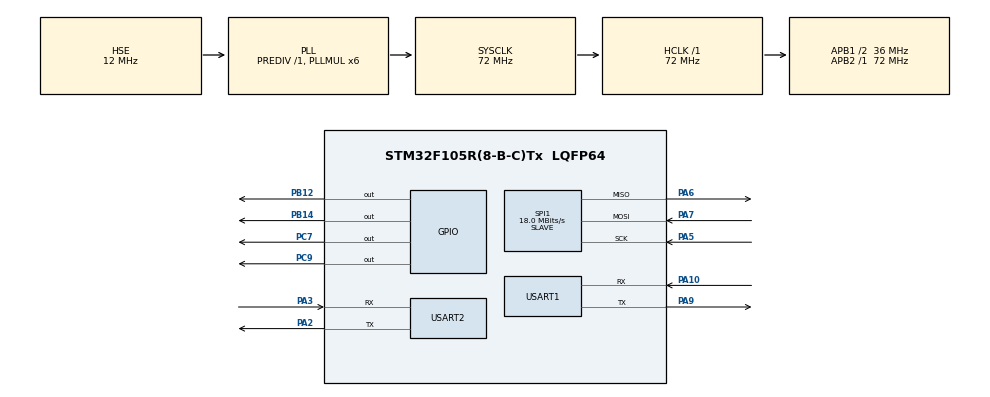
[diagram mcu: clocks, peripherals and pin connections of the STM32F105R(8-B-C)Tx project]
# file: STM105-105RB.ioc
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Mcu.Family=STM32F1
RCC.PLLSourceVirtual=RCC_PLLSOURCE_HSE
PA6.Mode=Full_Duplex_Slave
PA7.Mode=Full_Duplex_Slave
PD1-OSC_OUT.Mode=HSE-External-Oscillator
PA10.Mode=Asynchronous
SPI1.VirtualType=VM_SLAVE
PD0-OSC_IN.Signal=RCC_OSC_IN
RCC.APB1CLKDivider=RCC_HCLK_DIV2
VP_SYS_VS_ND.Mode=No_Debug
NVIC.USART2_IRQn=true\:0\:0\:false\:true\:true\:3\:true\:true
RCC.SYSCLKSource=RCC_SYSCLKSOURCE_PLLCLK
ProjectManager.StackSize=0x400
PD1-OSC_OUT.Signal=RCC_OSC_OUT
PA3.Mode=Asynchronous
PA9.Mode=Asynchronous
ProjectManager.TargetToolchain=STM32CubeIDE
PB14.GPIO_Speed=GPIO_SPEED_FREQ_HIGH
SPI1.Direction=SPI_DIRECTION_2LINES
RCC.HCLKFreq_Value=72000000
RCC.APB2TimFreq_Value=72000000
PA9.Signal=USART1_TX
PC7.Signal=GPIO_Output
SPI1.CalculateBaudRate=18.0 MBits/s
RCC.USBFreq_Value=48000000
RCC.AHBFreq_Value=72000000
PB12.GPIO_Speed=GPIO_SPEED_FREQ_HIGH
PD0-OSC_IN.Mode=HSE-External-Oscillator
PB14.Signal=GPIO_Output
PA5.Signal=SPI1_SCK
RCC.HSE_VALUE=12000000
board=custom
RCC.PLLMUL=RCC_PLL_MUL6
RCC.APB2Freq_Value=72000000
SPI1.Mode=SPI_MODE_SLAVE
Mcu.Name=STM32F105R(8-B-C)Tx
PA2.Signal=USART2_TX
RCC.FLatency-AdvancedSettings=FLASH_LATENCY_2
RCC.SYSCLKFreq_VALUE=72000000
Mcu.Package=LQFP64
PA6.Signal=SPI1_MISO
USART2.VirtualMode=VM_ASYNC
USART1.VirtualMode=VM_ASYNC
PA10.Signal=USART1_RX
ProjectManager.HeapSize=0x200
NVIC.PriorityGroup=NVIC_PRIORITYGROUP_4
RCC.APB1TimFreq_Value=72000000
PA2.Mode=Asynchronous
PC9.Signal=GPIO_Output
NVIC.USART1_IRQn=true\:0\:0\:false\:true\:true\:2\:true\:true
RCC.APB1Freq_Value=36000000
SPI1.BaudRatePrescaler=SPI_BAUDRATEPRESCALER_4
PB12.Signal=GPIO_Output
NVIC.RCC_IRQn=true\:0\:0\:false\:true\:true\:1\:true\:false
PA3.Signal=USART2_RX
PA5.Mode=Full_Duplex_Slave
PA7.Signal=SPI1_MOSI

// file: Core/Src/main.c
/* USER CODE BEGIN Header */
/**
  ******************************************************************************
  * @file           : main.c
  * @brief          : Main program body
  ******************************************************************************
  * @attention
  *
  * <h2><center>&copy; Copyright (c) 2021 STMicroelectronics.
  * All rights reserved.</center></h2>
  *
  * This software component is licensed by ST under BSD 3-Clause license,
  * the "License"; You may not use this file except in compliance with the
  * License. You may obtain a copy of the License at:
  *                        opensource.org/licenses/BSD-3-Clause
  *
  ******************************************************************************
  */
/* USER CODE END Header */
#include "main.h"

/* USER CODE BEGIN Includes */

/*############################################################################*/
/*gto include*/
#include "stdio.h"
#include "string.h"
#include "dwt_stm32_delay.h"	//gto

/*############################################################################*/

/* USER CODE END Includes */

SPI_HandleTypeDef hspi1;

UART_HandleTypeDef huart1;
UART_HandleTypeDef huart2;

void SystemClock_Config(void);
static void MX_GPIO_Init(void);
static void MX_USART1_UART_Init(void);
static void MX_SPI1_Init(void);
static void MX_USART2_UART_Init(void);
static void MX_NVIC_Init(void);

/* USER CODE BEGIN 0 */

/*############################################################################*/
/*gto define*/
//set 4Mbps
#define 	USART_CR1_OVER8_Pos           		(15U)
#define 	USART_CR1_OVER8_Msk           		(0x1UL << USART_CR1_OVER8_Pos)     /*!< 0x00008000 */
#define 	USART_CR1_OVER8               		USART_CR1_OVER8_Msk                /*!<USART Oversampling by 8 enable */
#define		UART_OVERSAMPLING_8                 ((uint32_t)USART_CR1_OVER8)

#define 	STM_TX_EN			GPIO_PIN_12
#define 	SYNC_EN				GPIO_PIN_14

/*############################################################################*/

/*############################################################################*/
/*gto variables*/
char * strcpy_slice(char *buf, char *s, int start, int size);

uint8_t 	data[1] = "S";				//uart1 test send data
uint8_t 	to407[11] = "(123456789)";		//uart1 test send data
uint8_t 	spi_data[] = "1";			//spi1 test send data
uint8_t 	uart1_4M = 0x11;			//uart1 4Mbps test send data
uint8_t 	rx_data;

uint8_t test_data[] = { 0 , 0 };
uint8_t test_data1[] = { 5 , 0 };

// slsve ID
uint8_t		s_ID[2];	// Save Slave ID
//uint8_t		compare_ID[2] = "00";	// Save Slave ID

/*mslee state machine variables*/
#define   	START_CODE	 		'<'
#define   	END_CODE		 	'>'
#define   	START				1
#define   	PAYLOAD 			2
#define   	END    				3
#define   	LENGTH   			16
uint8_t   	rxd[40];
uint8_t   	status = START;
uint8_t   	rx_cnt;
uint8_t		rxdata;
uint8_t		data_receive_flag = 0;

uint8_t		uart1_key_Flag = 0;
uint8_t		uart2_key_Flag = 0;

/*############################################################################*/

/*############################################################################*/
/*uart interrupt test*/ //gto

void HAL_UART_RxCpltCallback(UART_HandleTypeDef *huart) {
	if (huart->Instance == USART1) {
	        // When one data is received, an interrupt is generated.
			//HAL_GPIO_WritePin(GPIOB, SYNC_EN, 0); 							// GPIO PB14 OUTPUT LOW -> SYNC_EN

			HAL_UART_Receive_IT(&huart1, &rx_data, 1);

	        // Send the received data.
			HAL_UART_Transmit(&huart1, &rx_data, 1, 10);

			uart1_key_Flag = 1;

			/*
			HAL_GPIO_WritePin(GPIOB, STM_TX_EN, 1); 					// GPIO PB14 OUTPUT HIGH -> SYNC_EN
			HAL_UART_Transmit(&huart1, &rx_data, 1, 10);
			DWT_Delay_us(20);
			HAL_GPIO_WritePin(GPIOB, STM_TX_EN, 0); 					// GPIO PB14 OUTPUT LOW -> SYNC_EN
			HAL_GPIO_WritePin(GPIOC, GPIO_PIN_9, 0); // LED RED OFF
			*/

	}

	if (huart->Instance == USART2) {
			//debugPrintln(&huart2, "uart1 interrupt! ");
			// When one data is received, an interrupt is generated.
			HAL_UART_Receive_IT(&huart2, &rxdata, 1);

			// Send the received data.
			//HAL_UART_Transmit(&huart2, &rxdata, 1, 10);

			switch(status){

				case START:
					if( rxdata == START_CODE ) {
						rxd[0] = START_CODE ;
						rx_cnt = 1 ;
						status = PAYLOAD ;
						uart2_key_Flag = 0 ;
					}
					break ;

				case PAYLOAD :
					if( rxdata == START_CODE ) {
						rxd[0] = START_CODE ;
						rx_cnt = 1 ;
						status = PAYLOAD ;
					}
					else if( rxdata == END_CODE ) {
						if( rx_cnt == (LENGTH-1) )  {
							rxd[rx_cnt++] = rxdata ;
							uart2_key_Flag = 1 ;
						}
						status = START ;
					}
					else{
						if( rx_cnt < (LENGTH+2) )  rxd[rx_cnt++] = rxdata ;
						else {
							status = START ;
							rx_cnt = 0 ;
							uart2_key_Flag = 0 ;
						}
					}
					break ;
			}

	}
}

/*############################################################################*/

/*############################################################################*/
/*Send information (strings) to the console (PC) */

/*printf for uart1*/	//gto
int _write(int file, char *ptr, int len)
{
	HAL_UART_Transmit(&huart1, (uint8_t *) ptr, len, 500);
	return len;
}

/*Function to write directly to UART*/	//gto
void debugPrint(UART_HandleTypeDef *huart1, char _out[]){
 HAL_UART_Transmit(huart1, (uint8_t *) _out, strlen(_out), 10);
}

/*Function to write to UART and new line termination*/ //gto
void debugPrintln(UART_HandleTypeDef *huart, char _out[]){
 HAL_UART_Transmit(huart, (uint8_t *) _out, strlen(_out), 10);
 char newline[2] = "\r\n";
 HAL_UART_Transmit(huart, (uint8_t *) newline, 2, 10);
}

/*############################################################################*/

/* USER CODE END 0 */

int main(void)
{

  /* MCU Configuration--------------------------------------------------------*/

  /* Reset of all peripherals, Initializes the Flash interface and the Systick. */
  HAL_Init();

  /* Configure the system clock */
  SystemClock_Config();

  /* Initialize all configured peripherals */
  MX_GPIO_Init();
  MX_USART1_UART_Init();
  MX_SPI1_Init();
  MX_USART2_UART_Init();

  /* Initialize interrupts */
  MX_NVIC_Init();
  /* USER CODE BEGIN 2 */
  HAL_GPIO_WritePin(GPIOB, SYNC_EN, 1); 							// GPIO PB14 OUTPUT HIGH -> SYNC_EN
  HAL_GPIO_WritePin(GPIOB, STM_TX_EN, 0); 							// GPIO PB14 OUTPUT LOWH -> SYNC_EN

  printf("\r\n ### START STM32F105 Slave Board ### \r\n");

  /*receive Interrupt*/
  HAL_UART_Receive_IT(&huart1, (uint8_t *) &rx_data, 1);
  HAL_UART_Receive_IT(&huart2, (uint8_t *) &rxdata, 1); 			// interrupt uart 2

  //HAL_GPIO_WritePin(GPIOC, GPIO_PIN_7, 1); // GPIO OUTPUT HIGH
  //HAL_GPIO_WritePin(GPIOC, GPIO_PIN_9, 1); // GPIO OUTPUT HIGH
  /* USER CODE END 2 */

  /* Infinite loop */
  /* USER CODE BEGIN WHILE */

  while (1)
  {
	//HAL_UART_Transmit(&huart1, (uint8_t *)&uart1_4M, 2, 10);
	//DWT_Delay_us(1000000);

	if(uart2_key_Flag)
	{
		  uart2_key_Flag = 0;
		  HAL_GPIO_WritePin(GPIOC, GPIO_PIN_7, 1);							// LED RED ON

		  for (int i = 0; i < LENGTH; i++) {
			  HAL_UART_Transmit(&huart2, (uint8_t *) &rxd[i], 1, 10);
		  }

		  /*
		  strcpy_slice(s_ID, rxd, 5, 2);	// slice from message "[RID=?? SLAVE ANCHOR DEVICE]" 5, 2byte

		  if (s_ID == "00"){

		  }*/

		  HAL_GPIO_WritePin(GPIOB, SYNC_EN, 0); 							// GPIO PB14 OUTPUT LOW -> SYNC_EN

		  /*Configure GPIO pins : PA2 PA3 */	//gto
		  //change uart2 port to gpio

		  GPIO_InitTypeDef GPIO_InitStruct = {0};
		  GPIO_InitStruct.Pin = GPIO_PIN_2|GPIO_PIN_3;
		  GPIO_InitStruct.Mode = GPIO_MODE_INPUT;
		  GPIO_InitStruct.Pull = GPIO_NOPULL;
		  HAL_GPIO_Init(GPIOA, &GPIO_InitStruct);
	}

	if(uart1_key_Flag){
		  uart1_key_Flag = 0;

		  HAL_GPIO_WritePin(GPIOB, STM_TX_EN, 1);
		  //DWT_Delay_us(20);
		  HAL_UART_Transmit(&huart1, (uint8_t *) &to407, 11, 100);
		  //DWT_Delay_us(20);
		  HAL_GPIO_WritePin(GPIOB, STM_TX_EN, 0);

		  /*
		  if(rx_data == 0x22){
			  HAL_GPIO_WritePin(GPIOC, GPIO_PIN_7, 1);							// LED ON
			  HAL_Delay(1000);
			  HAL_GPIO_WritePin(GPIOC, GPIO_PIN_7, 0);							// LED OFF
		  }

		  if(rx_data == 0x33){
			  HAL_GPIO_WritePin(GPIOC, GPIO_PIN_7, 1);							// LED ON
			  HAL_Delay(1000);
			  HAL_GPIO_WritePin(GPIOC, GPIO_PIN_7, 0);							// LED OFF
		  }*/

		  /*
		  HAL_GPIO_WritePin(GPIOC, GPIO_PIN_9, 0); 							// GPIO RED OFF

		  HAL_GPIO_WritePin(GPIOB, STM_TX_EN, 1);
		  //DWT_Delay_us(20);
		  HAL_UART_Transmit(&huart1, (uint8_t *) &to407, 6, 10);
		  //DWT_Delay_us(20);
		  HAL_GPIO_WritePin(GPIOB, STM_TX_EN, 0);*/
	}

    /* USER CODE END WHILE */

  }
}

void SystemClock_Config(void)
{
  RCC_OscInitTypeDef RCC_OscInitStruct = {0};
  RCC_ClkInitTypeDef RCC_ClkInitStruct = {0};

  /** Initializes the RCC Oscillators according to the specified parameters
  * in the RCC_OscInitTypeDef structure.
  */
  RCC_OscInitStruct.OscillatorType = RCC_OSCILLATORTYPE_HSE;
  RCC_OscInitStruct.HSEState = RCC_HSE_ON;
  RCC_OscInitStruct.HSEPredivValue = RCC_HSE_PREDIV_DIV1;
  RCC_OscInitStruct.HSIState = RCC_HSI_ON;
  RCC_OscInitStruct.Prediv1Source = RCC_PREDIV1_SOURCE_HSE;
  RCC_OscInitStruct.PLL.PLLState = RCC_PLL_ON;
  RCC_OscInitStruct.PLL.PLLSource = RCC_PLLSOURCE_HSE;
  RCC_OscInitStruct.PLL.PLLMUL = RCC_PLL_MUL6;
  RCC_OscInitStruct.PLL2.PLL2State = RCC_PLL_NONE;
  if (HAL_RCC_OscConfig(&RCC_OscInitStruct) != HAL_OK)
  {
    Error_Handler();
  }
  /** Initializes the CPU, AHB and APB buses clocks
  */
  RCC_ClkInitStruct.ClockType = RCC_CLOCKTYPE_HCLK|RCC_CLOCKTYPE_SYSCLK
                              |RCC_CLOCKTYPE_PCLK1|RCC_CLOCKTYPE_PCLK2;
  RCC_ClkInitStruct.SYSCLKSource = RCC_SYSCLKSOURCE_PLLCLK;
  RCC_ClkInitStruct.AHBCLKDivider = RCC_SYSCLK_DIV1;
  RCC_ClkInitStruct.APB1CLKDivider = RCC_HCLK_DIV2;
  RCC_ClkInitStruct.APB2CLKDivider = RCC_HCLK_DIV1;

  if (HAL_RCC_ClockConfig(&RCC_ClkInitStruct, FLASH_LATENCY_2) != HAL_OK)
  {
    Error_Handler();
  }
  /** Configure the Systick interrupt time
  */
  __HAL_RCC_PLLI2S_ENABLE();
}

/**
  * @brief NVIC Configuration.
  * @retval None
  */
static void MX_NVIC_Init(void)
{
  /* RCC_IRQn interrupt configuration */
  HAL_NVIC_SetPriority(RCC_IRQn, 0, 0);
  HAL_NVIC_EnableIRQ(RCC_IRQn);
  /* USART1_IRQn interrupt configuration */
  HAL_NVIC_SetPriority(USART1_IRQn, 0, 0);
  HAL_NVIC_EnableIRQ(USART1_IRQn);
  /* USART2_IRQn interrupt configuration */
  HAL_NVIC_SetPriority(USART2_IRQn, 0, 0);
  HAL_NVIC_EnableIRQ(USART2_IRQn);
}

static void MX_SPI1_Init(void)
{

  /* SPI1 parameter configuration*/
  hspi1.Instance = SPI1;
  hspi1.Init.Mode = SPI_MODE_SLAVE;
  hspi1.Init.Direction = SPI_DIRECTION_2LINES;
  hspi1.Init.DataSize = SPI_DATASIZE_8BIT;
  hspi1.Init.CLKPolarity = SPI_POLARITY_LOW;
  hspi1.Init.CLKPhase = SPI_PHASE_1EDGE;
  hspi1.Init.NSS = SPI_NSS_SOFT;
  hspi1.Init.BaudRatePrescaler = SPI_BAUDRATEPRESCALER_4;
  hspi1.Init.FirstBit = SPI_FIRSTBIT_MSB;
  hspi1.Init.TIMode = SPI_TIMODE_DISABLE;
  hspi1.Init.CRCCalculation = SPI_CRCCALCULATION_DISABLE;
  hspi1.Init.CRCPolynomial = 10;
  if (HAL_SPI_Init(&hspi1) != HAL_OK)
  {
    Error_Handler();
  }

}

static void MX_USART1_UART_Init(void)
{

  /* USER CODE BEGIN USART1_Init 1 */

#if 0
  /* USER CODE END USART1_Init 1 */
  huart1.Instance = USART1;
  huart1.Init.BaudRate = 115200;
  huart1.Init.WordLength = UART_WORDLENGTH_8B;
  huart1.Init.StopBits = UART_STOPBITS_1;
  huart1.Init.Parity = UART_PARITY_NONE;
  huart1.Init.Mode = UART_MODE_TX_RX;
  huart1.Init.HwFlowCtl = UART_HWCONTROL_NONE;
  huart1.Init.OverSampling = UART_OVERSAMPLING_16;
  if (HAL_UART_Init(&huart1) != HAL_OK)
  {
    Error_Handler();
  }
  /* USER CODE BEGIN USART1_Init 2 */
#endif
  huart1.Instance = USART1;
  huart1.Init.BaudRate = 4000000; //7000000; //115200;
  huart1.Init.WordLength = UART_WORDLENGTH_8B;
  huart1.Init.StopBits = UART_STOPBITS_1;
  huart1.Init.Parity = UART_PARITY_NONE;
  huart1.Init.Mode = UART_MODE_TX_RX;
  huart1.Init.HwFlowCtl = UART_HWCONTROL_NONE;
  huart1.Init.OverSampling = UART_OVERSAMPLING_8;	//UART_OVERSAMPLING_16;	//UART_OVERSAMPLING_8;

  if (HAL_UART_Init(&huart1) != HAL_OK)
  {
    Error_Handler();
  }
  /* USER CODE END USART1_Init 2 */

}

static void MX_USART2_UART_Init(void)
{

  huart2.Instance = USART2;
  huart2.Init.BaudRate = 115200;
  huart2.Init.WordLength = UART_WORDLENGTH_8B;
  huart2.Init.StopBits = UART_STOPBITS_1;
  huart2.Init.Parity = UART_PARITY_NONE;
  huart2.Init.Mode = UART_MODE_TX_RX;
  huart2.Init.HwFlowCtl = UART_HWCONTROL_NONE;
  huart2.Init.OverSampling = UART_OVERSAMPLING_16;
  if (HAL_UART_Init(&huart2) != HAL_OK)
  {
    Error_Handler();
  }

}

static void MX_GPIO_Init(void)
{
  GPIO_InitTypeDef GPIO_InitStruct = {0};

  /* GPIO Ports Clock Enable */
  __HAL_RCC_GPIOD_CLK_ENABLE();
  __HAL_RCC_GPIOA_CLK_ENABLE();
  __HAL_RCC_GPIOB_CLK_ENABLE();
  __HAL_RCC_GPIOC_CLK_ENABLE();

  /*Configure GPIO pin Output Level */
  HAL_GPIO_WritePin(GPIOB, GPIO_PIN_12|GPIO_PIN_14, GPIO_PIN_RESET);

  /*Configure GPIO pin Output Level */
  HAL_GPIO_WritePin(GPIOC, GPIO_PIN_7|GPIO_PIN_9, GPIO_PIN_RESET);

  /*Configure GPIO pins : PB12 PB14 */
  GPIO_InitStruct.Pin = GPIO_PIN_12|GPIO_PIN_14;
  GPIO_InitStruct.Mode = GPIO_MODE_OUTPUT_PP;
  GPIO_InitStruct.Pull = GPIO_NOPULL;
  GPIO_InitStruct.Speed = GPIO_SPEED_FREQ_HIGH;
  HAL_GPIO_Init(GPIOB, &GPIO_InitStruct);

  /*Configure GPIO pins : PC7 PC9 */
  GPIO_InitStruct.Pin = GPIO_PIN_7|GPIO_PIN_9;
  GPIO_InitStruct.Mode = GPIO_MODE_OUTPUT_PP;
  GPIO_InitStruct.Pull = GPIO_NOPULL;
  GPIO_InitStruct.Speed = GPIO_SPEED_FREQ_LOW;
  HAL_GPIO_Init(GPIOC, &GPIO_InitStruct);

}

/* USER CODE BEGIN 4 */
char * strcpy_slice(char *buf, char *s, int start, int size)
{
  if (strlen(s) > start) {
    s += start;   // 시작 위치로 변경
    while (size-- > 0 && *s != '\0')   // size가 0보다 크고, 문자열 끝이 지나지 않은 경우
      *(buf++) = *(s++);   // 복사
    *buf = '\0';    // 끝에 널 문자 처리
  }

  return buf;
}
/* USER CODE END 4 */

void Error_Handler(void)
{
  __disable_irq();
  while (1)
  {
  }
}

/************************ (C) COPYRIGHT STMicroelectronics *****END OF FILE****/
